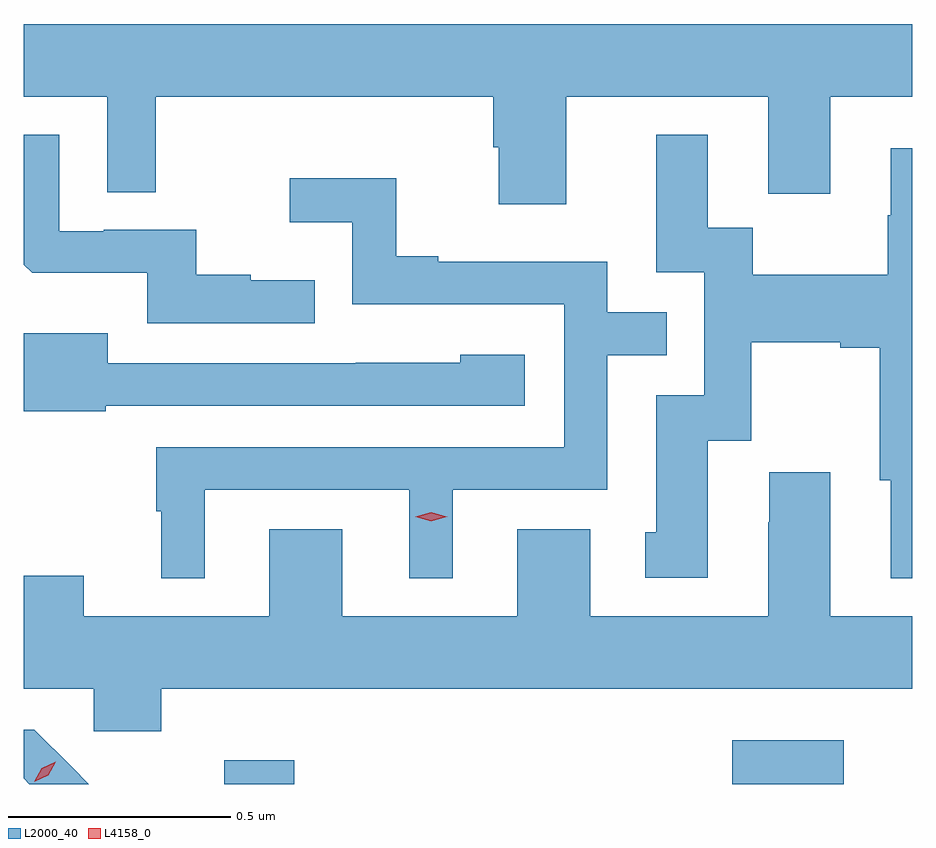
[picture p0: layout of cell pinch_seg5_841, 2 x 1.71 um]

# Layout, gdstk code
import gdstk
lib = gdstk.Library(unit=1e-6, precision=1e-09)
def R(c, l, rs):  # rectangles x0, y0, x1, y1
    for r in rs: c.add(gdstk.rectangle(r[:2], r[2:], *l))
def P(c, l, *ps):  # polygons
    for p in ps: c.add(gdstk.Polygon(p, *l))
L2000_40 = (2000, 40)
L4158_0 = (4158, 0)

pinch_seg5_841 = lib.new_cell('pinch_seg5_841')
R(pinch_seg5_841, L2000_40, [(761.843,892.51,762.001,892.564), (762.986,892.51,763.237,892.609)])
P(pinch_seg5_841, L2000_40, [(762.613,894.056),(763.067,894.056),(763.067,893.838),(763.207,893.838),(763.207,894.056),(763.392,894.056),(763.392,894.22),(761.392,894.22),(761.392,894.056),(761.58,894.056),(761.58,893.842),(761.689,893.842),(761.689,894.056),(762.449,894.056),(762.449,893.943),(762.461,893.943),(762.461,893.814),(762.613,893.814)],
  [(762.047,893.644),(761.903,893.644),(761.903,893.656),(761.78,893.656),(761.78,893.757),(761.572,893.757),(761.572,893.754),(761.472,893.754),(761.472,893.971),(761.392,893.971),(761.392,893.678),(761.411,893.66),(761.67,893.66),(761.67,893.547),(762.047,893.547)],
  [(763.392,893.941),(763.343,893.941),(763.343,893.79),(763.336,893.79),(763.336,893.656),(763.033,893.656),(763.033,893.762),(762.931,893.762),(762.931,893.971),(762.815,893.971),(762.815,893.661),(762.924,893.661),(762.924,893.385),(762.815,893.385),(762.815,893.076),(762.791,893.076),(762.791,892.974),(762.931,892.974),(762.931,893.282),(763.029,893.282),(763.029,893.504),(763.229,893.504),(763.229,893.492),(763.318,893.492),(763.318,893.193),(763.343,893.193),(763.343,892.973),(763.392,892.973)],
  [(761.8,893.172),(762.26,893.172),(762.26,892.973),(762.358,892.973),(762.358,893.172),(762.705,893.172),(762.705,893.475),(762.839,893.475),(762.839,893.571),(762.705,893.571),(762.705,893.685),(762.325,893.685),(762.325,893.698),(762.231,893.698),(762.231,893.873),(761.991,893.873),(761.991,893.774),(762.132,893.774),(762.132,893.589),(762.609,893.589),(762.609,893.268),(761.691,893.268),(761.691,893.124),(761.702,893.124),(761.702,892.973),(761.8,892.973)],
  [(761.577,893.361),(762.52,893.361),(762.52,893.476),(762.375,893.476),(762.375,893.458),(762.139,893.458),(762.139,893.457),(761.581,893.457),(761.581,893.524),(761.392,893.524),(761.392,893.349),(761.577,893.349)],
  [(761.702,892.724),(763.392,892.724),(763.392,892.888),(763.207,892.888),(763.207,893.212),(763.07,893.212),(763.07,893.099),(763.067,893.099),(763.067,892.888),(762.667,892.888),(762.667,893.083),(762.503,893.083),(762.503,892.888),(762.109,892.888),(762.109,893.083),(761.945,893.083),(761.945,892.888),(761.527,892.888),(761.527,892.979),(761.392,892.979),(761.392,892.724),(761.55,892.724),(761.55,892.629),(761.702,892.629)],
  [(761.5,892.549),(761.416,892.632),(761.392,892.632),(761.392,892.523),(761.405,892.51),(761.539,892.51)])
P(pinch_seg5_841, L4158_0, [(762.309,893.101),(762.273,893.111),(762.273,893.111),(762.273,893.111),(762.309,893.121),(762.344,893.111),(762.345,893.111),(762.344,893.111)],
  [(761.416,892.515),(761.416,892.515),(761.433,892.545),(761.464,892.56),(761.464,892.56),(761.464,892.56),(761.447,892.53),(761.416,892.515)])

lib.write_gds('pinch_seg5_841.gds')
